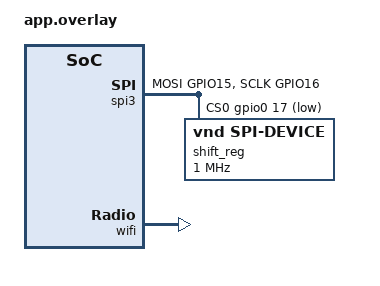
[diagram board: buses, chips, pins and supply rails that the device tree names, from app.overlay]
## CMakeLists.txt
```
cmake_minimum_required(VERSION 3.20.0)
list(APPEND CMAKE_MODULE_PATH "${CMAKE_CURRENT_SOURCE_DIR}/cmake")

find_package(Zephyr REQUIRED HINTS $ENV{ZEPHYR_BASE})

include(ApplySourceList)

project(
    asb-box
    VERSION 0.0.1
    LANGUAGES C
)

set(CMAKE_EXPORT_COMPILE_COMMANDS ON)

set(SourcesC "")
add_subdirectory(src)

target_sources(app PRIVATE ${SourcesC})
target_include_directories(app PRIVATE src)
```

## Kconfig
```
# Kconfig (in project root)
config APP_WIFI_SSID
    string "Wi-Fi SSID"
    default "Sumo_6_AP"

config APP_WIFI_PSK
    string "Wi-Fi Password"
    default "sumo1234"

config APP_AP_IP_ADDRESS
    string "IP of the AP"
    default "192.168.4.2"

config APP_AP_NETMASK
    string "Netmask of the AP"
    default "255.255.255.0"

config APP_COAPS_PORT
    int "Port of coaps server"
    default 5684

config APP_PSK_ID
    string "Username for coaps"
    default "asb-box"

config APP_PSK
    string "Password for coaps"
    default "bajojajo" 

# Source the main Zephyr tree Kconfig so the rest of the OS builds
source "Kconfig.zephyr"
```

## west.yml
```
manifest:
 remotes:
  - name: zephyrproject
    url-base: https://github.com/zephyrproject-rtos
  - name: mm102
    url-base: https://github.com/mm-102
 projects:
    - name: zephyr
      remote: zephyrproject
      revision: main
      import:
       name-allowlist:
        - hal_espressif
        - tf-psa-crypto
        - mbedtls

    - name: zephyr-minisumo2022
      remote: mm102
      revision: main

 self:
   path: asb-box
```

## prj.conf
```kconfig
# Wi-Fi Configuration
CONFIG_NETWORKING=y
CONFIG_WIFI=y
CONFIG_WIFI_NM=y
CONFIG_NET_L2_ETHERNET=y
CONFIG_NET_L2_WIFI_MGMT=y

# --- IP & DHCP ---
CONFIG_NET_IPV4=y
CONFIG_NET_DHCPV4=y
CONFIG_NET_DHCPV4_SERVER=y

CONFIG_NET_CONNECTION_MANAGER=y
CONFIG_NET_MGMT=y
CONFIG_NET_MGMT_EVENT=y
CONFIG_NET_MGMT_EVENT_INFO=y
CONFIG_NET_MGMT_EVENT_QUEUE_SIZE=10

# --- Sockets & CoAP ---
CONFIG_NET_UDP=y
CONFIG_NET_SOCKETS=y
CONFIG_NET_TCP=y
CONFIG_COAP=y

# --- DTLS & MbedTLS Core ---
CONFIG_MBEDTLS=y
CONFIG_MBEDTLS_BUILTIN=y
CONFIG_MBEDTLS_ENABLE_HEAP=y
CONFIG_MBEDTLS_HEAP_SIZE=16384
CONFIG_ENTROPY_GENERATOR=y

# --- PSK Key Exchange ---
CONFIG_MBEDTLS_KEY_EXCHANGE_PSK_ENABLED=y

# --- Sockets & DTLS ---
CONFIG_NET_SOCKETS_SOCKOPT_TLS=y
CONFIG_NET_SOCKETS_ENABLE_DTLS=y
CONFIG_NET_SOCKETS_DTLS_TIMEOUT=30000
CONFIG_TLS_CREDENTIALS=y
CONFIG_NET_SOCKETS_TLS_MAX_CLIENT_SESSION_COUNT=3
CONFIG_NET_SOCKETS_TLS_MAX_CONTEXTS=3
CONFIG_MBEDTLS_CIPHERSUITE_TLS_PSK_WITH_AES_256_CBC_SHA384=y
CONFIG_MBEDTLS_SSL_IN_CONTENT_LEN=2048
CONFIG_MBEDTLS_SSL_OUT_CONTENT_LEN=2048

# --- nvs ---
CONFIG_FLASH=y
CONFIG_FLASH_PAGE_LAYOUT=y
CONFIG_FLASH_MAP=y
CONFIG_NVS=y

# --- Stack & Buffer Sizes ---
CONFIG_NET_MGMT_EVENT_STACK_SIZE=4096
CONFIG_NET_SOCKETS_SERVICE_STACK_SIZE=4096
CONFIG_NET_TX_STACK_SIZE=4096
CONFIG_NET_RX_STACK_SIZE=4096
CONFIG_SYSTEM_WORKQUEUE_STACK_SIZE=4096
CONFIG_HEAP_MEM_POOL_SIZE=55296
CONFIG_NET_PKT_RX_COUNT=16
CONFIG_NET_PKT_TX_COUNT=16
CONFIG_NET_BUF_RX_COUNT=40
CONFIG_NET_BUF_TX_COUNT=40

CONFIG_NET_CONFIG_AUTO_INIT=n
CONFIG_APP_AP_IP_ADDRESS="192.168.4.1"
CONFIG_APP_AP_NETMASK="255.255.255.0"
CONFIG_APP_WIFI_SSID="Sumo_6_AP"
CONFIG_APP_WIFI_PSK="sumo1234"
CONFIG_APP_PSK_ID="asb-box"
CONFIG_APP_PSK="bajojajo"

# LOG Configuration
CONFIG_NET_LOG=y
CONFIG_NET_DHCPV4_SERVER_LOG_LEVEL_DBG=y
CONFIG_CBPRINTF_FP_SUPPORT=y
```

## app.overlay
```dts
/ {
    aliases {
        shift-reg = &shift_reg;
    };
    chosen {
		zephyr,nvs = &storage_partition;
	};
};

&pinctrl {
    spim3_default: spim3_default {
        group1 {
            pinmux = <SPIM3_MOSI_GPIO15>, // SER
                     <SPIM3_SCLK_GPIO16>; // SRCLK
        };
    };
};

&spi3 {
    #address-cells = <1>;
    #size-cells = <0>;
    
    status = "okay";
    pinctrl-0 = <&spim3_default>;
    pinctrl-names = "default";
    
    cs-gpios = <&gpio0 17 GPIO_ACTIVE_LOW>; // RCLK

    shift_reg: 74hc595@0 {
        compatible = "vnd,spi-device";
        reg = <0>;
        spi-max-frequency = <1000000>; 
    };
};

&wifi {
	status = "okay";
};

// repurpose sensor pins for buttins
&grd1 {
    gpios = <&gpio0 2 (GPIO_ACTIVE_LOW | GPIO_PULL_UP)>;
};

&grd2 {
    gpios = <&gpio0 3 (GPIO_ACTIVE_LOW | GPIO_PULL_UP)>;
};
```

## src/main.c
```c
#include <stdint.h>
#include <zephyr/kernel.h>
#include <zephyr/net/net_if.h>
#include <zephyr/logging/log.h>
#include <leds/anim_player.h>
#include <net/ap.h>
#include <nvs/nvs_manager.h>
#include <logic/logic.h>
#include <logic/buttons.h>

LOG_MODULE_REGISTER(main, LOG_LEVEL_INF);

struct net_if *iface;

frame_result_t anim_idle(uint32_t frame_no, void* _data){
    return  (frame_result_t) {
        .next_frame = K_MSEC(100),
        .led_word = 1 << (frame_no & 7)
    };
}

int main(void)
{
    LOG_INF("Starting AP demo...");

    init_callbacks();

    iface = net_if_get_wifi_sap();
    if (!iface) {
        LOG_ERR("Network interface not found!");
        return -1;
    }
    init_ap(iface);

    int ret = nvs_manager_init();
    if (ret < 0){
        LOG_ERR("Could not init nvs module!");
        return -1;
    }

    logic_init();
    buttons_init();

    // anim_request_t idle_req = {.duration_ms = 2400, .func = anim_idle, .data = NULL};

    while (1) {
        // anim_play(&idle_req);
        k_msleep(5000);
    }


    return 0;
}
```
